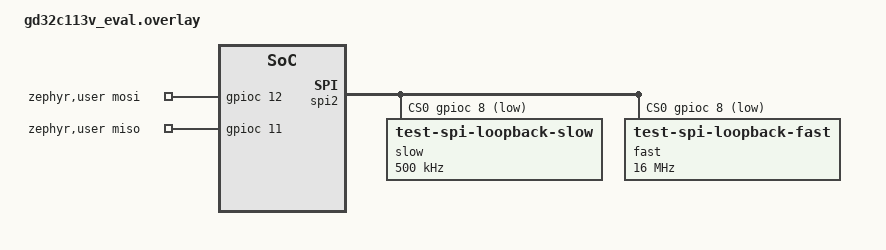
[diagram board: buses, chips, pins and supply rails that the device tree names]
/*
 * Copyright (c) 2026 GigaDevice Semiconductor Inc.
 *
 * SPDX-License-Identifier: Apache-2.0
 */

#include <dt-bindings/pinctrl/gd32c113v(b)xx-pinctrl.h>

/ {
	zephyr,user {
		/* PC12 (MOSI) is shorted to PC11 (MISO) for the loopback test. */
		mosi-gpios = <&gpioc 12 GPIO_ACTIVE_HIGH>;
		miso-gpios = <&gpioc 11 GPIO_ACTIVE_HIGH>;
	};
};

/* Free PC10/PC11/PC12 (uart3/uart4 headers) so spi2 can remap onto them. */
&uart3 {
	status = "disabled";
};

&uart4 {
	status = "disabled";
};

&pinctrl {
	spi2_loopback: spi2_loopback {
		group1 {
			pinmux = <SPI2_SCK_PC10_OUT_RMP>, <SPI2_MISO_PC11_INP_RMP>,
				 <SPI2_MOSI_PC12_OUT_RMP>;
		};
	};
};

&spi2 {
	status = "okay";
	pinctrl-0 = <&spi2_loopback>;
	pinctrl-names = "default";
	cs-gpios = <&gpioc 8 GPIO_ACTIVE_LOW>;

	slow@0 {
		compatible = "test-spi-loopback-slow";
		reg = <0>;
		spi-max-frequency = <500000>;
	};

	fast@0 {
		compatible = "test-spi-loopback-fast";
		reg = <0>;
		spi-max-frequency = <16000000>;
	};
};

&gpioc {
	status = "okay";
};
